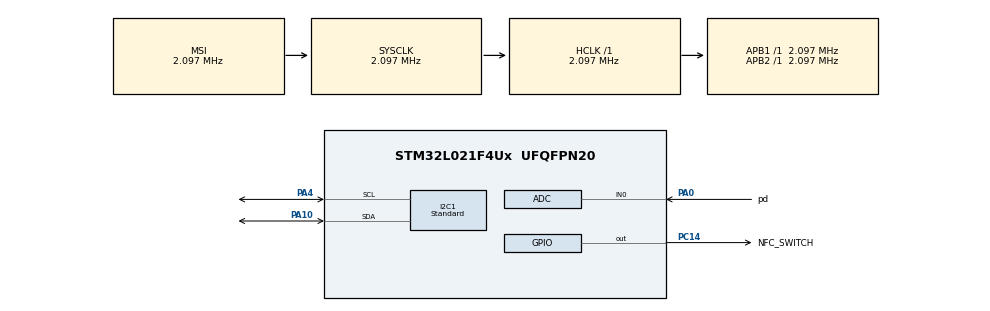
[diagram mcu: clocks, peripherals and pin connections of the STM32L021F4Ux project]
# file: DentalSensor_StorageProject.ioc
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ADC.ContinuousConvMode=DISABLE
ADC.DiscontinuousConvMode=ENABLE
I2C1.I2C_Speed_Mode=I2C_Standard
Mcu.Family=STM32L0
Mcu.Name=STM32L021F4Ux
Mcu.Package=UFQFPN20
PA0-CK_IN.GPIO_Label=pd
PA0-CK_IN.Mode=IN0
PA0-CK_IN.Signal=ADC_IN0
PA1.GPIO_Label=moisture
PA1.Signal=ADC_IN1
PA10.GPIO_Pu=GPIO_NOPULL
PA10.Mode=I2C
PA10.Signal=I2C1_SDA
PA13.Mode=Serial_Wire
PA13.Signal=SYS_SWDIO
PA14.Mode=Serial_Wire
PA14.Signal=SYS_SWCLK
PA4.GPIO_Pu=GPIO_NOPULL
PA4.Mode=I2C
PA4.Signal=I2C1_SCL
PC14-OSC32_IN.GPIO_Label=NFC_SWITCH
PC14-OSC32_IN.PinState=GPIO_PIN_RESET
PC14-OSC32_IN.Signal=GPIO_Output
ProjectManager.HeapSize=0x200
ProjectManager.StackSize=0x400
ProjectManager.TargetToolchain=STM32CubeIDE
RCC.AHBFreq_Value=2097000
RCC.APB1Freq_Value=2097000
RCC.APB1TimFreq_Value=2097000
RCC.APB2Freq_Value=2097000
RCC.APB2TimFreq_Value=2097000
RCC.HCLKFreq_Value=2097000
RCC.HSE_VALUE=8000000
RCC.HSI16_VALUE=16000000
RCC.HSI_VALUE=16000000
RCC.I2c1ClockSelection=RCC_I2C1CLKSOURCE_SYSCLK
RCC.LSE_VALUE=32768
RCC.MSI_VALUE=2097000
RCC.SYSCLKFreq_VALUE=2097000
RCC.VCOOutputFreq_Value=48000000
VP_ADC_Vref_Input.Mode=IN-Vrefint
board=custom

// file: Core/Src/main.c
/* USER CODE BEGIN Header */
/**
  ******************************************************************************
  * @file           : main.c
  * @brief          : Firmware for the Densor project.
  ******************************************************************************
  */
/* USER CODE END Header */
#include "main.h"

/* USER CODE BEGIN Includes */
#include <stdbool.h>
#include "tmp117.h"

/* USER CODE END Includes */

/* USER CODE BEGIN PD */
#define NFC_ADDR 					0xA6
#define ACCEL_ADDR 					0x32
#define DEBUG_TERMINAL				0xAA
#define AM1805_ADDR 				0xD2

#define ACCEL_TEMP_BASE				0x0D
#define ACCEL_CONTROL1				0x20
#define ACCEL_OUT_X_L				0x28

#define RTC_SECONDS                 0x01
#define RTC_SECONDS_ALARM           0x09
#define RTC_MINUTES					0x02
#define RTC_MINUTES_ALARM			0x0A
#define RTC_OSCILLATOR_CONTROL      0x1C
#define RTC_CONFIGURATION_KEY       0x1F
#define RTC_CONTROL2                0x11
#define RTC_INTMASK                 0x12
#define RTC_COUNTDOWN_TIMER_CONTROL 0x18
#define RTC_STATUS                  0x0F
#define RTC_SLEEP_CONTROL			0x17

#define SENSOR_ENABLE_REG			0x00
#define TIMESTAMP_REG				0x01
#define RTC_INTERVAL_REG			0x05
#define STARTUP_DELAY_REG			0x06
#define MEM_POINTER_REG				0x07

#define MEMORY_SIZE 				8192

#define VREF_CAL_ADDR				((uint16_t*) (0x1FF80078)) // Datasheet p.51
#define VREF_CAL_VDDA				3000 // Datasheet p.51

#define DEBUG_TEST 					false
#define CHARGE_MODE					true

/* ASSIGNMENT CODE BEGIN */
// used config for the firmware: 1 measurement and starts in shutdown mode
// gets put in one-shot mode upon need
// NB after testing we could up the AVG value if needed.
/**
 *  TMP117 CONFIG register
 *  changed values:
 *  	- MOD[1:0]: 00 -> 01 set to shutdown
 *  	- AVG[1:0]: 01 -> 00 set to no averaging
 *  to activate one-shot change MOD[1:0] to 11
 */
#define TMP117_DEFAULT_CONFIG 0b0000011000000000
#define TMP117_ONE_SHOT_BITS (0x03 << 5)
/* ASSIGNMENT CODE END */

/* USER CODE END PD */

ADC_HandleTypeDef hadc;

I2C_HandleTypeDef hi2c1;

/* USER CODE BEGIN PV */

// Pointer to current memory position to write to.
uint16_t memPointer = 9;
// Zero value. Used for wiping memory.
uint8_t zero = 0;
// Holder for the interval set on the RTC. Default is 10 seconds.
uint8_t rtcInterval = 0x10;

// Holder for the value in the seconds register on the RTC at boot.
uint8_t bootSeconds = 0x60;
// Holder for the value in the minutes register on the RTC at boot.
uint8_t bootMinutes = 0x60;
// Holder for the startup delay.
uint8_t startupDelay = 0x00;

// Holder for boolean that determines which clock source the RTC should use. If true uses internal RC clock, if false, uses external XT crystal.
bool rcEnable = true;
// Holders for booleans that determine which sensors are turned on and off.
bool tempEnable = false;
bool moistureEnable = false;
bool pdEnable = false;
bool accelEnable = false;

/* ASSIGNMENT CODE BEGIN */
// bool for sensorEnable of the TMP117
bool newTempEnable = false;
/* ASSIGNMENT CODE END */

/* USER CODE END PV */

void SystemClock_Config(void);
static void MX_GPIO_Init(void);
static void MX_I2C1_Init(void);
static void MX_ADC_Init(void);

/* USER CODE BEGIN 0 */

/**
 * @brief  Overwrite of the _write function. Outputs all calls to _write on the I2C bus to the DEBUG_TERMINAL address. Returns the length of the string to write.
 *
 * @param file: File descriptor of file into which data is written.
 * @param ptr: Pointer to data to be written.
 * @param len: Length in bytes of data to be written.
 * @retval int
 */
int _write(int file, char *ptr, int len)
{
  (void)file;
  __attribute__((unused)) int DataIdx;

  HAL_I2C_Master_Transmit(&hi2c1, DEBUG_TERMINAL, (uint8_t *) ptr, len, HAL_MAX_DELAY);
  return len;
}

// Only set to true, will print debug characters to an external debugger on i2c address DEBUG_TERMINAL. Otherwise does nothing.
#if DEBUG_TEST
/**
 * @brief  Writes a single given character to the DEBUG_TERMINAL through I2C.
 *
 * @param  out: The character to write
 * @retval None
 */
HAL_StatusTypeDef printDebugChar(uint8_t out) {
	HAL_I2C_Master_Transmit(&hi2c1, DEBUG_TERMINAL, &out, 1, HAL_MAX_DELAY);
}

/**
 * @brief  Writes a given character array of given size to the DEBUG_TERMINAL through I2C.
 *
 * @param  out: The character array to write
 * @param  size: The size of the character array
 * @retval None
 */
HAL_StatusTypeDef printDebug(uint8_t* out, int size) {
	HAL_I2C_Master_Transmit(&hi2c1, DEBUG_TERMINAL, out, size, HAL_MAX_DELAY);
}
#else

/**
 * @brief  Placeholder in case debug mode is disabled
 *
 * @param  out: The character to write. Ignored
 * @retval HAL_OK
 */
HAL_StatusTypeDef printDebugChar(uint8_t out) {
	return HAL_OK;
}

/**
 * @brief  Placeholder in case debug mode is disabled
 *
 * @param  out: The character to write. Ignored
 * @retval HAL_OK
 */
HAL_StatusTypeDef printDebug(uint8_t* out, int size) {
	return HAL_OK;
}
#endif

/**
 * @brief  Write a given amount of 0's to the NFC tag, starting from address 0.
 *
 * @param  size: Amount of 0's to write
 * @retval None
 */
void wipeMemory(int size) {
	for (uint16_t addr = 0; addr < size; addr++) {
		  HAL_I2C_Mem_Write(&hi2c1, NFC_ADDR, (uint16_t) addr, 2, &zero, 1, 1000);
	  	  HAL_Delay(10);
	  }
}

/**
 * @brief  Write a given array of bytes to the NFC tag, starting at a given memory address.
 *         Ensures that the NFC tag is done writing before returning.
 *
 * @param  data: Pointer to the byte array to be written
 * @param  size: The amount bytes to write
 * @param  memAddr: The memory-address of the first byte
 * @retval HAL_StatusTypeDef
 */
HAL_StatusTypeDef writeMemory(uint8_t* data, int size, uint16_t memAddr) {
	HAL_StatusTypeDef status = HAL_I2C_Mem_Write(&hi2c1, NFC_ADDR, memAddr, I2C_MEMADD_SIZE_16BIT, data, size, HAL_MAX_DELAY);
	HAL_Delay(2);

	uint8_t count = 0;
	while(HAL_I2C_IsDeviceReady(&hi2c1, NFC_ADDR, 1, 5) != HAL_OK && count < 50) {
		HAL_Delay(5);
		count++;
	}

	return status;
}

/**
 * @brief  Write a given array of bytes to the data section of the NFC tag.
 *         Automatically selects the end of the data section increments the memory pointer (locally, not on the NFC tag).
 *
 * @param  data: Pointer to the byte array to be written
 * @param  size: The amount of bytes to write
 * @retval HAL_StatusTypeDef
 */
HAL_StatusTypeDef writeDataMemory(uint8_t* data, int size) {
	if (memPointer + size >= MEMORY_SIZE || memPointer < 9) {
		return 1;
	}

	HAL_StatusTypeDef status = writeMemory(data, size, memPointer);
	memPointer += size;

	return status;
}

/**
 * @brief  Saves the local memory pointer to the NFC tag.
 *
 * @retval HAL_StatusTypeDef
 */
HAL_StatusTypeDef saveMemPointer() {
	if (memPointer >= 9 && memPointer <= MEMORY_SIZE) {
		uint8_t buff[2] = {memPointer, (memPointer >> 8)};
		return writeMemory(buff, 2, MEM_POINTER_REG);
	}

	return HAL_ERROR;
}

/**
 * @brief  Scans the I2C bus for devices. Writes all addresses that respond to the NFC tag.
 *
 * @retval 0
 */
int I2CDeviceScan() {
	uint8_t final_addr = 0;

	/* ASSIGNMENT CODE BEGIN */
	/*
	__attribute__((unused)) HAL_StatusTypeDef resNfc = HAL_I2C_IsDeviceReady(&hi2c1, NFC_ADDR, 3, 5);
	__attribute__((unused)) HAL_StatusTypeDef recRtc = HAL_I2C_IsDeviceReady(&hi2c1, AM1805_ADDR, 3, 5);
	__attribute__((unused)) HAL_StatusTypeDef resAccel = HAL_I2C_IsDeviceReady(&hi2c1, ACCEL_ADDR, 3, 5);

	// I don't think this is needed as the loop below spans the whole address space, just like the three calls above
	// I actually used the unshifted ADDR as a macro but this should be fine as the driver hides the ADDR anyway
	__attribute__((unused)) HAL_StatusTypeDef resNewTemp = HAL_I2C_IsDeviceReady(&hi2c1, TMP117_ADDR << 1, 3, 5);
	*/
	/* ASSIGNMENT CODE END */

	// is this scanning the whole address space?
	for (uint8_t addr = 0; addr < 128; addr++) {
		  HAL_StatusTypeDef res = HAL_I2C_IsDeviceReady(&hi2c1, (uint16_t)(addr<<1), 3, 5);
		  if (res == HAL_OK) {
			  final_addr = (addr<<1);
			  HAL_I2C_Mem_Write(&hi2c1, NFC_ADDR, memPointer, 2, &final_addr, 1, 1000);
			  memPointer += 1;
		  }

		  HAL_Delay(10);
	  }

	  HAL_I2C_Mem_Write(&hi2c1, NFC_ADDR, memPointer, 2, &zero, 1, 1000);
	  memPointer += 1;

	  return 0;
}

/**
 * @brief  Enables all sensors that should be enabled
 *
 * @retval None
 */
void enableSensors() {
	if (accelEnable || tempEnable) {
		uint8_t enableAccel = 0b00010000; //low power mode, lowest frequency, 12 bit
		enableAccel = 0x3B;
		HAL_I2C_Mem_Write(&hi2c1, ACCEL_ADDR, ACCEL_CONTROL1, I2C_MEMADD_SIZE_8BIT, &enableAccel, 1, HAL_MAX_DELAY);
		enableAccel = 0x03;
		HAL_I2C_Mem_Write(&hi2c1, ACCEL_ADDR, 0x22, I2C_MEMADD_SIZE_8BIT, &enableAccel, 1, HAL_MAX_DELAY);
	} else {
		HAL_I2C_Mem_Write(&hi2c1, ACCEL_ADDR, ACCEL_CONTROL1, I2C_MEMADD_SIZE_8BIT, &zero, 1, HAL_MAX_DELAY);
	}

	/* ASSIGNMENT CODE BEGIN */
	if (newTempEnable) {
		// set the sensor to shutdown mode, 1 measurement only
		tmp117WriteReg(&hi2c1, TMP117_CONFIG_REG, TMP117_DEFAULT_CONFIG);
	}
	/* ASSIGNMENT CODE END */

	if (pdEnable) {
		HAL_ADCEx_Calibration_Start(&hadc, ADC_SINGLE_ENDED);
	}

}

/**
 * @brief  Set the RTC to sleep for the given interval.
 *
 * @param  interval: The sleep interval in BCD. The first bit determines if the interval is in seconds (0) or minutes (1)
 * @retval None
 */
void initRtcSleep(uint8_t interval) {

	// Setup the RTC into alarm mode.
	uint8_t value = 0b10100001; // 0xA1
	HAL_I2C_Mem_Write(&hi2c1, AM1805_ADDR, RTC_CONFIGURATION_KEY, I2C_MEMADD_SIZE_8BIT, &value, 1, 100);

	value = rcEnable ? 0b10000100 : 0b00000100;
	// 0x04 for XT -> changed to 0x84 for RC
	HAL_I2C_Mem_Write(&hi2c1, AM1805_ADDR, RTC_OSCILLATOR_CONTROL, I2C_MEMADD_SIZE_8BIT, &value, 1, 100);

	uint8_t timeReg;
	uint8_t alarmReg;

	bool minutesSelected = interval & 0b10000000;

	// Determine the alarm values that should be set.
	if (minutesSelected) {
		// Minutes interval
		timeReg = RTC_MINUTES;
		alarmReg = RTC_MINUTES_ALARM;
		value = bootMinutes;
	} else {
		// Seconds interval
		timeReg = RTC_SECONDS;
		alarmReg = RTC_SECONDS_ALARM;
		value = bootSeconds;

	}

	// Set the alarm value.
	if (value > 0x59) {
		HAL_I2C_Mem_Read(&hi2c1, AM1805_ADDR, timeReg, I2C_MEMADD_SIZE_8BIT, &value, 1, 100);
	}

	// Check if both value and interval are in BCD and are not out of bounds.
	if (((value & 0b11110000) >> 4) >= 6 || (value & 0b00001111) > 9) {
		value = 0x00;
	}
	if (((interval & 0b01110000) >> 4) >= 6 || (interval & 0b00001111) > 9) {
		interval = 0x00;
	}

	if (((value & 0b00001111) + (interval & 0b00001111)) > 9) value += 6; // If the ones overflow, increment by 6 to get back to actual value!
	value += (interval & 0b01111111);
	if (value > 0x59) value = value - 0x60; // Changed from setting to 0 to setting to decrementing by 0x59. This will keep functionality as expected!

	// Check if value is still BCD after calculation.
	if (((value & 0b11110000) >> 4) >= 6 || (value & 0b00001111) > 9) {
		value = 0x00;
	}

	// Set and enable alarm. Should turn off MCU.
	HAL_I2C_Mem_Write(&hi2c1, AM1805_ADDR, alarmReg, I2C_MEMADD_SIZE_8BIT, &value, 1, 100);

	value = 0b00111000; // 0x38
	HAL_I2C_Mem_Write(&hi2c1, AM1805_ADDR, RTC_CONTROL2, I2C_MEMADD_SIZE_8BIT, &value, 1, 100);

	value = 0b10000100; // 0x84
	HAL_I2C_Mem_Write(&hi2c1, AM1805_ADDR, RTC_INTMASK, I2C_MEMADD_SIZE_8BIT, &value, 1, 100);

	value = minutesSelected ? 0b00010111 : 0b00011011; // 0x1B
	HAL_I2C_Mem_Write(&hi2c1, AM1805_ADDR, RTC_COUNTDOWN_TIMER_CONTROL, I2C_MEMADD_SIZE_8BIT, &value, 1, 100);

	value = 0;
	HAL_I2C_Mem_Write(&hi2c1, AM1805_ADDR, RTC_STATUS, I2C_MEMADD_SIZE_8BIT, &value, 1, 100);

	value = 0b10000000; // 0x80
	HAL_I2C_Mem_Write(&hi2c1, AM1805_ADDR, RTC_SLEEP_CONTROL, I2C_MEMADD_SIZE_8BIT, &value, 1, 100);
}

/**
 * @brief  Tries to trigger a sleep on the RTC for the given interval. If it fails 10 times, resets the MCU.
 *
 * @retval None
 */
void rtcSleep(uint8_t interval, bool saveMP) {
	// Only save memory pointer when requested. Default is false.
	if (saveMP) {
		saveMemPointer();
	}

	uint8_t stop_count = 0;

	// Try to stop the MCU through the RTC 10 times.
	while (stop_count < 10) {
		initRtcSleep(interval);
		HAL_Delay(50);
		stop_count++;
	}

	// If stopping through the RTC failed, reset the MCU.
	NVIC_SystemReset();
}

/* USER CODE END 0 */

int main(void)
{

  /* MCU Configuration--------------------------------------------------------*/

  /* Reset of all peripherals, Initializes the Flash interface and the Systick. */
  HAL_Init();

  /* Configure the system clock */
  SystemClock_Config();

  /* Initialize all configured peripherals */
  MX_GPIO_Init();
  MX_I2C1_Init();
  MX_ADC_Init();
  /* USER CODE BEGIN 2 */

  // I2CDeviceScan();
  // Wait for the RTC to start. Necessary when this is the first time the entire systems starts.
  HAL_Delay(5);

  // Retrieve RTC seconds and minutes at boot.
  HAL_StatusTypeDef status = HAL_I2C_Mem_Read(&hi2c1, AM1805_ADDR, RTC_SECONDS, I2C_MEMADD_SIZE_8BIT, &bootSeconds, 1, 100);
  status = HAL_I2C_Mem_Read(&hi2c1, AM1805_ADDR, RTC_MINUTES, I2C_MEMADD_SIZE_8BIT, &bootMinutes, 1, 100);

  // Check the first two bytes of the timestamp. If < 3400, retrieve VDDA, store it in the first two ts bytes and rtcSleep for 5 seconds.
#if CHARGE_MODE
  uint8_t ts_buff[2] = {};
  status = HAL_I2C_Mem_Read(&hi2c1, NFC_ADDR, TIMESTAMP_REG, I2C_MEMADD_SIZE_16BIT, ts_buff, 2, HAL_MAX_DELAY);
  uint16_t timestamp  = ((uint32_t) ts_buff[0] << 8) | ts_buff[1];

  if (timestamp < 3400) {
	  HAL_ADCEx_Calibration_Start(&hadc, ADC_SINGLE_ENDED);

	  HAL_ADC_Start(&hadc);
	  HAL_ADC_PollForConversion(&hadc, HAL_MAX_DELAY);
	  HAL_ADC_GetValue(&hadc);

	  HAL_ADC_Start(&hadc);
	  HAL_ADC_PollForConversion(&hadc, HAL_MAX_DELAY);
	  uint32_t vrefMeasured = HAL_ADC_GetValue(&hadc);
	  uint32_t vdda = VREF_CAL_VDDA * (*VREF_CAL_ADDR) / vrefMeasured; // VDDA * 1000

	  uint8_t vdda_buff[2] = {};
	  vdda_buff[0] = ((vdda & 0x0000ff00) >> 8);
	  vdda_buff[1] = (vdda & 0x000000ff);
	  if (status == HAL_OK) {
		  HAL_I2C_Mem_Write(&hi2c1, NFC_ADDR, (uint16_t) TIMESTAMP_REG, I2C_MEMADD_SIZE_16BIT, vdda_buff, 2, 1000);
		  HAL_Delay(10);
	  }

	  rtcSleep(0x05, false);
  }
#endif

  // Retrieve settings from the NFC tag. Break sensor enable byte into separate booleans.
  uint8_t sensorEnable = 0b10000000; // <0:IX, 1:RC>0<temperature><moisture><pd_en><new_temperature_en>0<accel_en>.

  if (DEBUG_TEST) {
	  sensorEnable = 0b00101111;
	  rtcInterval = 0x10;
  } else {
	  // HAL_StatusTypeDef status =
	  HAL_I2C_Mem_Read(&hi2c1, NFC_ADDR, SENSOR_ENABLE_REG, I2C_MEMADD_SIZE_16BIT, &sensorEnable, 1, HAL_MAX_DELAY);
	  HAL_I2C_Mem_Read(&hi2c1, NFC_ADDR, RTC_INTERVAL_REG, I2C_MEMADD_SIZE_16BIT, &rtcInterval, 1, HAL_MAX_DELAY);
	  HAL_I2C_Mem_Read(&hi2c1, NFC_ADDR, STARTUP_DELAY_REG, I2C_MEMADD_SIZE_16BIT, &startupDelay, 1, HAL_MAX_DELAY);

	  uint8_t buff[2] = {} ;
	  HAL_I2C_Mem_Read(&hi2c1, NFC_ADDR, MEM_POINTER_REG, I2C_MEMADD_SIZE_16BIT, buff, 2, HAL_MAX_DELAY);

	  memPointer = buff[0] | ((uint16_t) buff[1] << 8);
  }

  if (startupDelay & 0b10000000) {
	  uint8_t newStartupDelay = startupDelay & 0b01111111;
	  writeMemory(&newStartupDelay, 1, STARTUP_DELAY_REG);
	  rtcSleep(startupDelay, false);
  }

  // Conversion to bool, False if 0, True otherwise.
  rcEnable = sensorEnable 	 & 0b10000000; // 0 means RTC on XT oscillator. 1 means RTC on RC oscillator.
  tempEnable = sensorEnable 	 & 0b00100000;

  /* ASSIGNMENT CODE BEGIN */
  // this code was changed to allow the new flag
  if ((sensorEnable & 0b00010010)) {
	  sensorEnable = sensorEnable & 0b11101101;
	  writeMemory(&sensorEnable, 1, SENSOR_ENABLE_REG);
  }

  // we use the 2nd bit for the newTempSensor flag
  newTempEnable =  sensorEnable  & 0b00000100;
  /* ASSIGNMENT CODE END */

  pdEnable = sensorEnable 		 & 0b00001000;
  accelEnable = sensorEnable 	 & 0b00000001;

  // Enable sensors that are turned on in enable sensor register.
  enableSensors();
  HAL_Delay(5);

  uint8_t inputPointer = 0;
  uint8_t inputBuffer[22] = {};

  /* USER CODE END 2 */

  /* Infinite loop */
  /* USER CODE BEGIN WHILE */

  // Read all sensors that are turned on and store the values in a buffer.
  if (tempEnable) {
	  HAL_I2C_Mem_Read(&hi2c1, (uint16_t) ACCEL_ADDR, ACCEL_TEMP_BASE, I2C_MEMADD_SIZE_8BIT, inputBuffer, 2, HAL_MAX_DELAY);
	  inputPointer += 2;
  } else if (pdEnable) {
	  // Add an extra byte to the buffer in case the temperature is not enabled, but pd is. Byte is later used to store VDDA.
	  inputBuffer[0] = 0;
	  inputPointer += 1;
  }

  if (pdEnable) {
	  // Skip first value
	  HAL_ADC_Start(&hadc);
	  HAL_ADC_PollForConversion(&hadc, HAL_MAX_DELAY);
	  HAL_ADC_GetValue(&hadc);
	  HAL_ADC_Start(&hadc);
	  HAL_ADC_PollForConversion(&hadc, HAL_MAX_DELAY);
	  HAL_ADC_GetValue(&hadc);

	  HAL_ADC_Start(&hadc);
	  HAL_ADC_PollForConversion(&hadc, HAL_MAX_DELAY);
	  uint32_t pdValue = HAL_ADC_GetValue(&hadc);
	  // To calibrate: pdValue = ((pdValue * vdda) / 4095) / 1000;
	  inputBuffer[inputPointer] = pdValue;
	  inputBuffer[inputPointer+1] = (pdValue >> 8) & 0x0F;
	  inputPointer += 2;

  }

  // If temperature and/or photodiode is enabled, retrieve VDDA.
  if (tempEnable || pdEnable) {
	  if (!pdEnable) {
		  HAL_ADC_Start(&hadc);
		  HAL_ADC_PollForConversion(&hadc, HAL_MAX_DELAY);
		  HAL_ADC_GetValue(&hadc);
	  }

	  HAL_ADC_Start(&hadc);
	  HAL_ADC_PollForConversion(&hadc, HAL_MAX_DELAY);
	  uint32_t vrefMeasured = HAL_ADC_GetValue(&hadc);
	  uint32_t vdda = VREF_CAL_VDDA * (*VREF_CAL_ADDR) / vrefMeasured; // VDDA * 1000
	  vdda = (vdda / 100); //VDDA * 10 -> [18,33] mapped to [0, 15]. Also takes 0.1V difference into account with reality into account
	  vdda = (vdda > 33) ? 33 : vdda;
	  vdda = (vdda < 18) ? 18 : vdda;
	  vdda -= 18;
	  inputBuffer[0] = inputBuffer[0] | (vdda & 0x0F);
  }

  if (accelEnable) {
	  HAL_I2C_Mem_Read(&hi2c1, (uint16_t) ACCEL_ADDR, ACCEL_OUT_X_L, I2C_MEMADD_SIZE_8BIT, inputBuffer + inputPointer, 6, HAL_MAX_DELAY);
	  inputPointer += 6;
  }

  /* ASSIGNMENT CODE BEGIN */
  // to my understanding inputBuffer is used at most for 8 bytes
  // so don't need to increase the size of the buffer
  if (newTempEnable) {
	  // NB I tried some error handlig, if there's an error in the I2C protocol
	  // this goes back to shutdown automatically after the measurement
	  if (!tmp117WriteReg(&hi2c1, TMP117_CONFIG_REG, TMP117_DEFAULT_CONFIG | TMP117_ONE_SHOT_BITS)) {
		  // poll for data_ready bit bit 13 so 5 in MSB
		  int8_t i = 0;
		  inputBuffer[inputPointer] = 0; // remove garbage
		  while (i < 50) {
			  tmp117ReadReg(&hi2c1, TMP117_CONFIG_REG, inputBuffer + inputPointer);
			  if (inputBuffer[inputPointer] & 0b00100000)
				  break;
			  ++i;
			  HAL_Delay(1);
		  }

		  // store in the data buffer the temp in big endian, the app will then convert it
		  if (i == 50 || tmp117ReadReg(&hi2c1, TMP117_TEMP_RES_REG, inputBuffer + inputPointer)) {
			  // if something goes wrong send 0, should be outside the expected
			  // operating range
			  inputBuffer[inputPointer] = 0;
			  inputBuffer[inputPointer + 1] = 0;
		  }
		  inputPointer += 2;

		  // NB the sensor can be calibrated so the read could be adjusted based on the performance
		  // in the PCB if there's some unforseen noise
	  }

	  // NB: an EXTI interrupt on the ALERT pin could be used to put the MCU to sleep during
	  // conversion, but polling avoids extra GPIO routing, EXTI HAL overhead, and saves Flash
	  // however this could be easily changed if needed
	  // NB: pins are by default in analog so no need to touch them unless used, already
	  // optimized
  }
  /* ASSIGNMENT CODE END */

  // Write sensor values to NFC tag. Then enter RTC sleep with interval set in settings.
  writeDataMemory(inputBuffer, inputPointer);
  rtcSleep(rtcInterval, true);
    /* USER CODE END WHILE */

}

void SystemClock_Config(void)
{
  RCC_OscInitTypeDef RCC_OscInitStruct = {0};
  RCC_ClkInitTypeDef RCC_ClkInitStruct = {0};
  RCC_PeriphCLKInitTypeDef PeriphClkInit = {0};

  /** Configure the main internal regulator output voltage
  */
  __HAL_PWR_VOLTAGESCALING_CONFIG(PWR_REGULATOR_VOLTAGE_SCALE1);

  /** Initializes the RCC Oscillators according to the specified parameters
  * in the RCC_OscInitTypeDef structure.
  */
  RCC_OscInitStruct.OscillatorType = RCC_OSCILLATORTYPE_MSI;
  RCC_OscInitStruct.MSIState = RCC_MSI_ON;
  RCC_OscInitStruct.MSICalibrationValue = 0;
  RCC_OscInitStruct.MSIClockRange = RCC_MSIRANGE_5;
  RCC_OscInitStruct.PLL.PLLState = RCC_PLL_NONE;
  if (HAL_RCC_OscConfig(&RCC_OscInitStruct) != HAL_OK)
  {
    Error_Handler();
  }

  /** Initializes the CPU, AHB and APB buses clocks
  */
  RCC_ClkInitStruct.ClockType = RCC_CLOCKTYPE_HCLK|RCC_CLOCKTYPE_SYSCLK
                              |RCC_CLOCKTYPE_PCLK1|RCC_CLOCKTYPE_PCLK2;
  RCC_ClkInitStruct.SYSCLKSource = RCC_SYSCLKSOURCE_MSI;
  RCC_ClkInitStruct.AHBCLKDivider = RCC_SYSCLK_DIV1;
  RCC_ClkInitStruct.APB1CLKDivider = RCC_HCLK_DIV1;
  RCC_ClkInitStruct.APB2CLKDivider = RCC_HCLK_DIV1;

  if (HAL_RCC_ClockConfig(&RCC_ClkInitStruct, FLASH_LATENCY_0) != HAL_OK)
  {
    Error_Handler();
  }
  PeriphClkInit.PeriphClockSelection = RCC_PERIPHCLK_I2C1;
  PeriphClkInit.I2c1ClockSelection = RCC_I2C1CLKSOURCE_SYSCLK;
  if (HAL_RCCEx_PeriphCLKConfig(&PeriphClkInit) != HAL_OK)
  {
    Error_Handler();
  }
}

static void MX_ADC_Init(void)
{

  ADC_ChannelConfTypeDef sConfig = {0};

  /** Configure the global features of the ADC (Clock, Resolution, Data Alignment and number of conversion)
  */
  hadc.Instance = ADC1;
  hadc.Init.OversamplingMode = DISABLE;
  hadc.Init.ClockPrescaler = ADC_CLOCK_SYNC_PCLK_DIV1;
  hadc.Init.Resolution = ADC_RESOLUTION_12B;
  hadc.Init.SamplingTime = ADC_SAMPLETIME_1CYCLE_5;
  hadc.Init.ScanConvMode = ADC_SCAN_DIRECTION_FORWARD;
  hadc.Init.DataAlign = ADC_DATAALIGN_RIGHT;
  hadc.Init.ContinuousConvMode = DISABLE;
  hadc.Init.DiscontinuousConvMode = ENABLE;
  hadc.Init.ExternalTrigConvEdge = ADC_EXTERNALTRIGCONVEDGE_NONE;
  hadc.Init.ExternalTrigConv = ADC_SOFTWARE_START;
  hadc.Init.DMAContinuousRequests = DISABLE;
  hadc.Init.EOCSelection = ADC_EOC_SINGLE_CONV;
  hadc.Init.Overrun = ADC_OVR_DATA_PRESERVED;
  hadc.Init.LowPowerAutoWait = DISABLE;
  hadc.Init.LowPowerFrequencyMode = ENABLE;
  hadc.Init.LowPowerAutoPowerOff = DISABLE;
  if (HAL_ADC_Init(&hadc) != HAL_OK)
  {
    Error_Handler();
  }

  /** Configure for the selected ADC regular channel to be converted.
  */
  sConfig.Channel = ADC_CHANNEL_0;
  sConfig.Rank = ADC_RANK_CHANNEL_NUMBER;
  if (HAL_ADC_ConfigChannel(&hadc, &sConfig) != HAL_OK)
  {
    Error_Handler();
  }

  /** Configure for the selected ADC regular channel to be converted.
  */
  sConfig.Channel = ADC_CHANNEL_VREFINT;
  if (HAL_ADC_ConfigChannel(&hadc, &sConfig) != HAL_OK)
  {
    Error_Handler();
  }

}

static void MX_I2C1_Init(void)
{

  hi2c1.Instance = I2C1;
  hi2c1.Init.Timing = 0x00000708;
  hi2c1.Init.OwnAddress1 = 0;
  hi2c1.Init.AddressingMode = I2C_ADDRESSINGMODE_7BIT;
  hi2c1.Init.DualAddressMode = I2C_DUALADDRESS_DISABLE;
  hi2c1.Init.OwnAddress2 = 0;
  hi2c1.Init.OwnAddress2Masks = I2C_OA2_NOMASK;
  hi2c1.Init.GeneralCallMode = I2C_GENERALCALL_DISABLE;
  hi2c1.Init.NoStretchMode = I2C_NOSTRETCH_DISABLE;
  if (HAL_I2C_Init(&hi2c1) != HAL_OK)
  {
    Error_Handler();
  }

  /** Configure Analogue filter
  */
  if (HAL_I2CEx_ConfigAnalogFilter(&hi2c1, I2C_ANALOGFILTER_ENABLE) != HAL_OK)
  {
    Error_Handler();
  }

  /** Configure Digital filter
  */
  if (HAL_I2CEx_ConfigDigitalFilter(&hi2c1, 0) != HAL_OK)
  {
    Error_Handler();
  }

}

static void MX_GPIO_Init(void)
{
  GPIO_InitTypeDef GPIO_InitStruct = {0};

  /* GPIO Ports Clock Enable */
  __HAL_RCC_GPIOC_CLK_ENABLE();
  __HAL_RCC_GPIOA_CLK_ENABLE();

  /*Configure GPIO pin Output Level */
  HAL_GPIO_WritePin(NFC_SWITCH_GPIO_Port, NFC_SWITCH_Pin, GPIO_PIN_RESET);

  /*Configure GPIO pin : NFC_SWITCH_Pin */
  GPIO_InitStruct.Pin = NFC_SWITCH_Pin;
  GPIO_InitStruct.Mode = GPIO_MODE_OUTPUT_PP;
  GPIO_InitStruct.Pull = GPIO_NOPULL;
  GPIO_InitStruct.Speed = GPIO_SPEED_FREQ_LOW;
  HAL_GPIO_Init(NFC_SWITCH_GPIO_Port, &GPIO_InitStruct);

}

/* USER CODE BEGIN 4 */

//int __io_putchar(int ch) {
//	ITM_SendChar(ch);
//
//	return ch;
//}

/* USER CODE END 4 */

void Error_Handler(void)
{
  __disable_irq();
  while (1)
  {
  }
}
